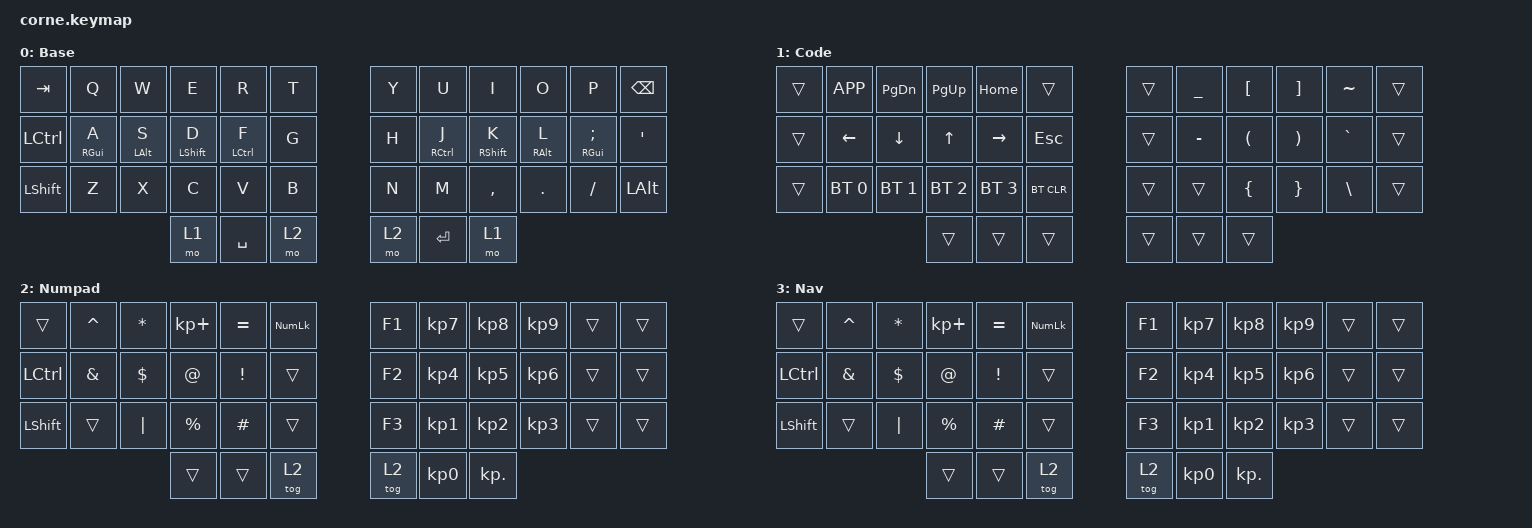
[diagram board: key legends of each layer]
/*
 * Copyright (c) 2020 The ZMK Contributors
 *
 * SPDX-License-Identifier: MIT
 */

#include <behaviors.dtsi>
#include <dt-bindings/zmk/keys.h>
#include <dt-bindings/zmk/bt.h>


/ {

        behaviors {

                hm: homerow_mods {
                    compatible = "zmk,behavior-hold-tap";
                    #binding-cells = <2>;
                    tapping-term-ms = <200>;
                    quick-tap-ms = <0>;
                    flavor = "tap-preferred";
                    bindings = <&kp>, <&kp>;
                };
        };

        keymap {
                compatible = "zmk,keymap";

                default_layer {
// -----------------------------------------------------------------------------------------
// |  TAB |  Q  |  W  |  E  |  R  |  T  |   |  Y  |  U   |  I  |  O  |  P  | BKSP |
// | CTRL |  A  |  S  |  D  |  F  |  G  |   |  H  |  J   |  K  |  L  |  ;  |  '   |
// | SHFT |  Z  |  X  |  C  |  V  |  B  |   |  N  |  M   |  ,  |  .  |  /  | ALT  |
//                    | LWR | SPC | RSE |   | RSE | ENT  | LWR |
                        label = "Base";
                        bindings = <
                             &kp TAB &kp Q &kp W &kp E &kp R &kp T   &kp Y &kp U  &kp I &kp O &kp P &kp BSPC
     &kp LCTRL &hm RGUI A &hm LALT S &hm LSHFT D &hm LCTRL F &kp G   &kp H &hm RCTRL J &hm RSHFT K &hm RALT L &hm RGUI SEMI &kp SQT
                           &kp LSHFT &kp Z &kp X &kp C &kp V &kp B   &kp N &kp M  &kp COMMA &kp DOT &kp FSLH &kp LALT
                                             &mo 1 &kp SPACE &mo 2   &mo 2 &kp RET &mo 1
                        >;
                };
                lower_layer {
// -----------------------------------------------------------------------------------------
// |  |  APP   | PGDN | PGUP | HOME  |     |   |  |  _  |  [  |  ]  |  ~  |  |
// |  |  LEFT  | DOWN | UP   | RIGHT | ESC |   |  |  -  |  (  |  )  |  `  |  |
// |  |  BT1   | BT2  | BT3  | BT4   | BTC |   |  |     |  {  |  }  |  \  |  |
//                    |      |       |     |   |  |     |     |
                        label = "Code";
                        bindings = <
 &trans  &kp K_APP    &kp PG_DN    &kp PG_UP    &kp HOME     &trans        &trans  &kp UNDER    &kp LBKT  &kp RBKT  &kp TILDE  &trans
 &trans  &kp LEFT     &kp DOWN     &kp UP       &kp RIGHT    &kp ESC       &trans  &kp MINUS    &kp LPAR  &kp RPAR  &kp GRAVE  &trans
 &trans  &bt BT_SEL 0 &bt BT_SEL 1 &bt BT_SEL 2 &bt BT_SEL 3 &bt BT_CLR    &trans  &trans       &kp LBRC  &kp RBRC  &kp BSLH   &trans
                                   &trans       &trans       &trans        &trans  &trans       &trans
                        >;
                };

                raise_layer {
// -----------------------------------------------------------------------------------------
// |  | ^ | * | + | =  | NUMLOCK |   | F1 |  7  |  8  |  9  |  |  |
// |  | & | $ | @ | ! |          |   | F2 |  4  |  5  |  6  |  |  |
// |  |   | | | % | # |          |   | F3 |  1  |  2  |  3  |  |  |
//        |   |   |   |          |   |    |     |     |
                        label = "Numpad";
                        bindings = <
   &trans    &kp CARET &kp STAR    &kp KP_PLUS &kp EQUAL  &kp KP_NUM   &kp F1 &kp KP_N7 &kp KP_N8 &kp KP_N9 &trans &trans
   &kp LCTRL &kp AMPS  &kp DLLR    &kp AT      &kp EXCL   &trans       &kp F2 &kp KP_N4 &kp KP_N5 &kp KP_N6 &trans &trans
   &kp LSHFT &trans    &kp PIPE    &kp PRCNT   &kp HASH   &trans       &kp F3 &kp KP_N1 &kp KP_N2 &kp KP_N3 &trans &trans
                    	           &trans      &trans     &tog 2       &tog 2 &kp KP_N0 &kp KP_DOT
                        >;
                };
                func_layer {
// -----------------------------------------------------------------------------------------
// |  | ^ | * | + | =  | NUMLOCK |   | F1 |  7  |  8  |  9  |  |  |
// |  | & | $ | @ | ! |          |   | F2 |  4  |  5  |  6  |  |  |
// |  |   | | | % | # |          |   | F3 |  1  |  2  |  3  |  |  |
//        |   |   |   |          |   |    |     |     |
                        label = "Nav";
                        bindings = <
   &trans    &kp CARET &kp STAR    &kp KP_PLUS &kp EQUAL  &kp KP_NUM   &kp F1 &kp KP_N7 &kp KP_N8 &kp KP_N9 &trans &trans
   &kp LCTRL &kp AMPS  &kp DLLR    &kp AT      &kp EXCL   &trans       &kp F2 &kp KP_N4 &kp KP_N5 &kp KP_N6 &trans &trans
   &kp LSHFT &trans    &kp PIPE    &kp PRCNT   &kp HASH   &trans       &kp F3 &kp KP_N1 &kp KP_N2 &kp KP_N3 &trans &trans
                    	           &trans      &trans     &tog 2       &tog 2 &kp KP_N0 &kp KP_DOT
                        >;
                };

        };
};
